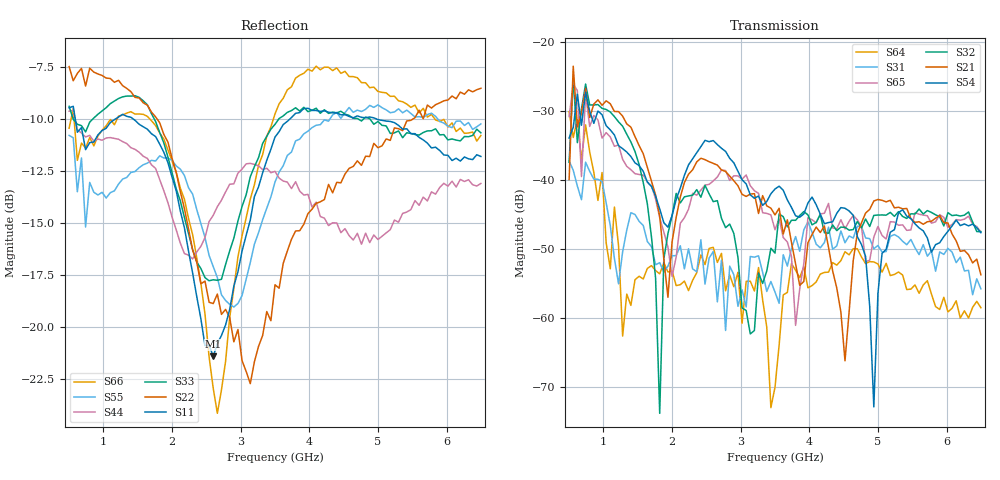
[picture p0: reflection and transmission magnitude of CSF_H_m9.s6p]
!Keysight Technologies,M9804A,MY58100912,A.14.10.03
!Date: Thursday, April 27, 2023 10:28:33
!Correction: S11(C  6-Port  )
!S12(C  6-Port  )
!S13(C  6-Port  )
!S14(C  6-Port  )
!S15(C  6-Port  )
!S16(C  6-Port  )
!S21(C  6-Port  )
!S22(C  6-Port  )
!S23(C  6-Port  )
!S24(C  6-Port  )
!S25(C  6-Port  )
!S26(C  6-Port  )
!S31(C  6-Port  )
!S32(C  6-Port  )
!S33(C  6-Port  )
!S34(C  6-Port  )
!S35(C  6-Port  )
!S36(C  6-Port  )
!S41(C  6-Port  )
!S42(C  6-Port  )
!S43(C  6-Port  )
!S44(C  6-Port  )
!S45(C  6-Port  )
!S46(C  6-Port  )
!S51(C  6-Port  )
!S52(C  6-Port  )
!S53(C  6-Port  )
!S54(C  6-Port  )
!S55(C  6-Port  )
!S56(C  6-Port  )
!S61(C  6-Port  )
!S62(C  6-Port  )
!S63(C  6-Port  )
!S64(C  6-Port  )
!S65(C  6-Port  )
!S66(C  6-Port  )
!S6P File: Measurement: :
# Hz S  RI  R 50
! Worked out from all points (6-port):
!   101 points, 500 MHz to 6.5 GHz, reference 50 ohm
!   strongest paths, dB at 500 MHz, 2 GHz, 3.5 GHz, 5 GHz, 6.5 GHz:
!     S54: -33.9, -45.2, -41.3, -56.4, -47.6
!     S21: -39.9, -49.0, -45.1, -42.8, -53.7
!     S32: -37.4, -45.2, -50.6, -45.1, -47.5
!     S65: -30.8, -54.0, -47.2, -46.7, -47.5
!     S31: -37.2, -51.0, -56.2, -49.5, -55.8
!     S64: -30.1, -53.2, -70.0, -52.2, -58.5
!   lowest |S11| = -21.4 dB at 2.6 GHz (marker M1), VSWR 1.19, Z = 42.4 + j2.2 ohm
!   |S11| at or under -10 dB: 589.7 MHz to 1.171 GHz (581 MHz wide, 66 % of centre); 1.437 GHz to 3.715 GHz (2.278 GHz wide, 88.4 % of centre); 4.984 GHz to end of sweep
